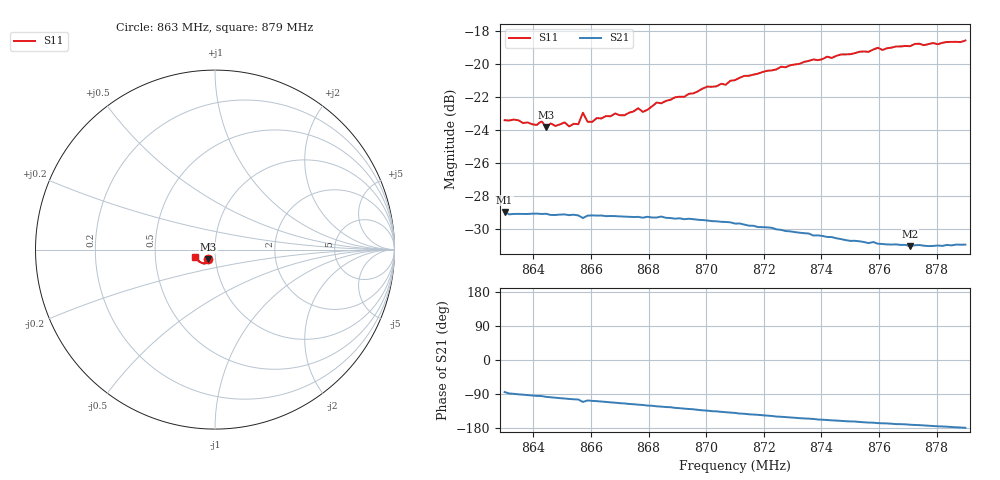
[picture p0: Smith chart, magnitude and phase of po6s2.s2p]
# HZ S RI R 50
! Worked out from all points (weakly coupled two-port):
!   101 points, 863 MHz to 879 MHz, reference 50 ohm
!   highest |S21| = -28.98 dB at 863 MHz (marker M1); lowest = -31.1 dB at 877.08 MHz (marker M2)
!   lowest |S11| = -23.8 dB at 864.44 MHz (marker M3), VSWR 1.14, Z = 46.2 - j4.92 ohm
!   |S11| at or under -10 dB: start of sweep to end of sweep
!   S12 and S22 are empty: the file has one direction only
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8.63e8  -0.0397 -0.0545  0.00337 -0.0354  0 0  0 0
8.6412e8  -0.038 -0.0531  -0.00295 -0.035  0 0  0 0
8.6428e8  -0.0375 -0.0556  -0.00311 -0.0349  0 0  0 0
8.6444e8  -0.0365 -0.053  -0.00439 -0.0348  0 0  0 0
8.646e8  -0.0365 -0.0549  -0.00504 -0.0344  0 0  0 0
8.6508e8  -0.035 -0.0565  -0.00702 -0.0342  0 0  0 0
8.6524e8  -0.0338 -0.0551  -0.00771 -0.0339  0 0  0 0
8.6556e8  -0.0341 -0.056  -0.00858 -0.0336  0 0  0 0
8.6572e8  -0.039 -0.0594  -0.012 -0.0319  0 0  0 0
8.6588e8  -0.0336 -0.0577  -0.01 -0.0332  0 0  0 0
8.6604e8  -0.0321 -0.0584  -0.0106 -0.033  0 0  0 0
8.6684e8  -0.0326 -0.0628  -0.0133 -0.0318  0 0  0 0
8.6716e8  -0.0323 -0.0619  -0.0143 -0.0313  0 0  0 0
8.6764e8  -0.034 -0.065  -0.0161 -0.0303  0 0  0 0
8.678e8  -0.0324 -0.0637  -0.0164 -0.0299  0 0  0 0
8.6828e8  -0.0357 -0.0674  -0.0182 -0.0289  0 0  0 0
8.6844e8  -0.0357 -0.067  -0.0188 -0.0288  0 0  0 0
8.71e8  -0.0483 -0.075  -0.025 -0.0212  0 0  0 0
8.7372e8  -0.07 -0.0757  -0.0274 -0.0125  0 0  0 0
8.7644e8  -0.0936 -0.0615  -0.0277 -0.00579  0 0  0 0
8.7708e8  -0.098 -0.0564  -0.0276 -0.00449  0 0  0 0
8.79e8  -0.1112 -0.0387  -0.0283 -0.00049  0 0  0 0
